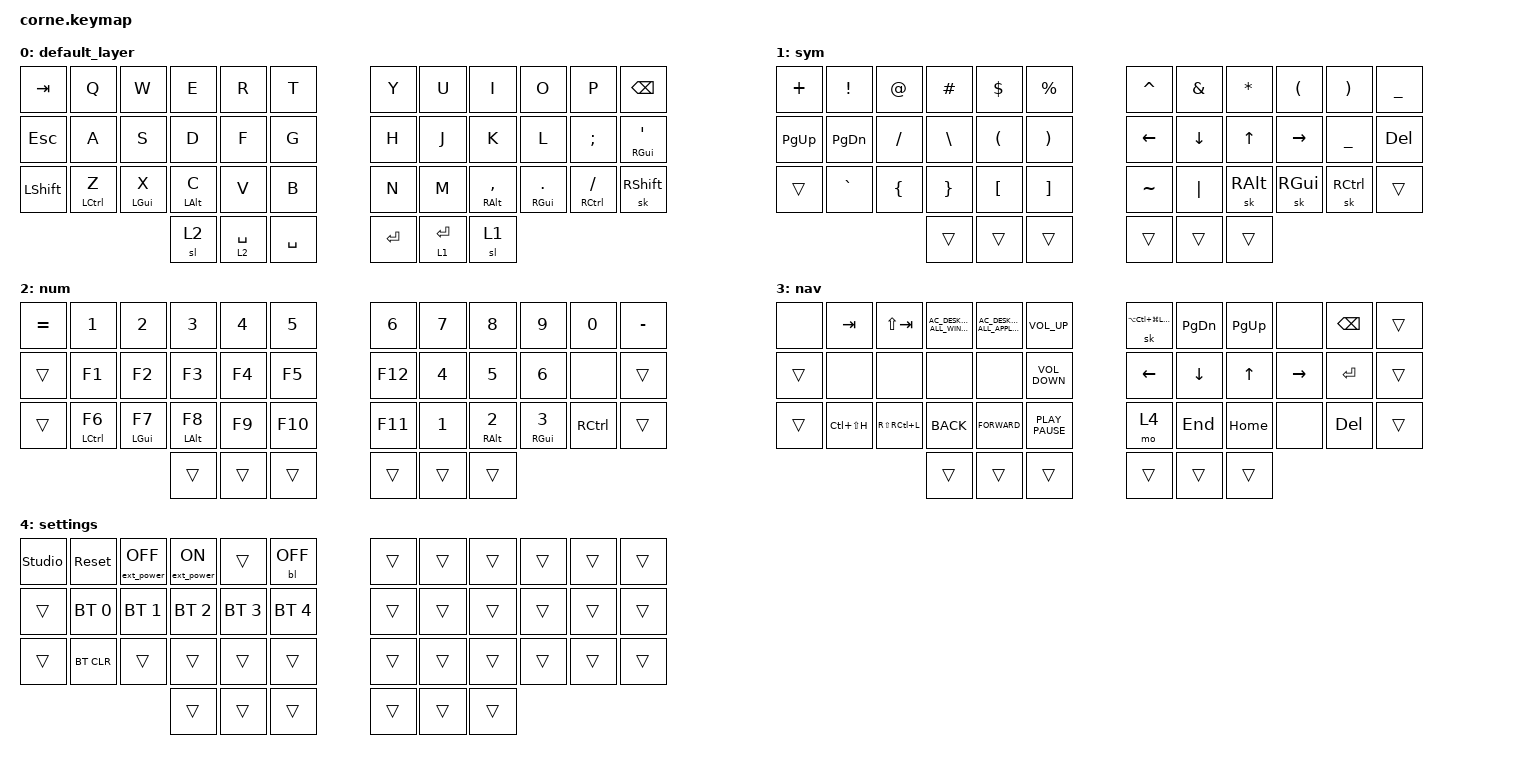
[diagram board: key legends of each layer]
/*
 * Copyright (c) 2020 The ZMK Contributors
 *
 * SPDX-License-Identifier: MIT
 */

#include <behaviors.dtsi>
#include <dt-bindings/zmk/backlight.h>
#include <dt-bindings/zmk/bt.h>
#include <dt-bindings/zmk/ext_power.h>
#include <dt-bindings/zmk/keys.h>

/ {
    behaviors {
        // Custom hold-tap with longer tapping term for improved mod-tap behavior
        my_mod_tap: my_mod_tap {
            compatible = "zmk,behavior-hold-tap";
            #binding-cells = <2>;
            flavor = "tap-preferred";
            tapping-term-ms = <250>;         // More time to distinguish hold from tap
            quick-tap-ms = <150>;            // Allows quick tap functionality
            require-prior-idle-ms = <100>;   // If another key was pressed within this time, prefer tap
            bindings = <&kp>, <&kp>;
        };
    };

    keymap {
        compatible = "zmk,keymap";

        default_layer {
            // -----------------------------------------------------------------------------------------
            // |  TAB |  Q  |  W  |  E  |  R  |  T  |   |  Y  |  U   |  I  |  O  |  P  | BSPC |
            // | CTRL |  A  |  S  |  D  |  F  |  G  |   |  H  |  J   |  K  |  L  |  ;  |  '   |
            // | SHFT |  Z  |  X  |  C  |  V  |  B  |   |  N  |  M   |  ,  |  .  |  /  | ESC  |
            //                    | GUI | LWR | SPC |   | ENT | RSE  | ALT |

            bindings = <
&kp TAB         &kp Q           &kp W              &kp E              &kp R        &kp T        &kp Y      &kp U        &kp I                   &kp O                    &kp P               &kp BACKSPACE
&kp ESCAPE      &kp A           &kp S              &kp D              &kp F        &kp G        &kp H      &kp J        &kp K                   &kp L                    &kp SEMI            &my_mod_tap RIGHT_GUI SQT
&kp LEFT_SHIFT  &my_mod_tap LCTRL Z  &my_mod_tap LEFT_GUI X  &my_mod_tap LEFT_ALT C  &kp V        &kp B        &kp N      &kp M        &my_mod_tap RIGHT_ALT COMMA  &my_mod_tap RIGHT_GUI PERIOD  &my_mod_tap RCTRL SLASH  &sk RIGHT_SHIFT
                                                &sl 2              &lt 2 SPACE  &kp SPACE    &kp ENTER  &lt 1 ENTER  &sl 1
            >;
        };

        sym {
            bindings = <
&kp PLUS     &kp EXCLAMATION  &kp AT_SIGN     &kp HASH         &kp DOLLAR            &kp PERCENT              &kp CARET  &kp AMPERSAND  &kp ASTERISK   &kp LEFT_PARENTHESIS  &kp RIGHT_PARENTHESIS  &kp UNDERSCORE
&kp PAGE_UP  &kp PAGE_DOWN    &kp SLASH       &kp BACKSLASH    &kp LEFT_PARENTHESIS  &kp RIGHT_PARENTHESIS    &kp LEFT   &kp DOWN       &kp UP         &kp RIGHT             &kp UNDERSCORE         &kp DELETE
&trans       &kp GRAVE        &kp LEFT_BRACE  &kp RIGHT_BRACE  &kp LEFT_BRACKET      &kp RIGHT_BRACKET        &kp TILDE  &kp PIPE       &sk RIGHT_ALT  &sk RIGHT_GUI         &sk RCTRL              &trans
                                              &trans           &trans                &trans                   &trans     &trans         &trans
            >;
        };

        num {
            bindings = <
&kp EQUAL  &kp N1        &kp N2           &kp N3           &kp N4  &kp N5     &kp N6   &kp N7        &kp N8                  &kp N9                  &kp N0             &kp MINUS
&trans     &kp F1        &kp F2           &kp F3           &kp F4  &kp F5     &kp F12  &kp NUMBER_4  &kp N5                  &kp NUMBER_6            &none              &trans
&trans     &mt LCTRL F6  &mt LEFT_GUI F7  &mt LEFT_ALT F8  &kp F9  &kp F10    &kp F11  &kp NUMBER_1  &mt RIGHT_ALT NUMBER_2  &mt RIGHT_GUI NUMBER_3  &kp RIGHT_CONTROL  &trans
                                          &trans           &trans  &trans     &trans   &trans        &trans
            >;
        };

        nav {
            bindings = <
&none   &kp TAB        &kp LS(TAB)    &kp C_AC_DESKTOP_SHOW_ALL_WINDOWS  &kp C_AC_DESKTOP_SHOW_ALL_APPLICATIONS  &kp K_VOLUME_UP      &sk LA(LC(LG(LEFT_SHIFT)))  &kp PAGE_DOWN   &kp PG_UP     &none      &kp BACKSPACE  &trans
&trans  &none          &none          &none                              &none                                   &kp K_VOLUME_DOWN    &kp LEFT                    &kp DOWN_ARROW  &kp UP_ARROW  &kp RIGHT  &kp ENTER      &trans
&trans  &kp LC(LS(H))  &kp RS(RC(L))  &kp K_BACK                         &kp K_FORWARD                           &kp K_PLAY_PAUSE     &mo 4                       &kp END         &kp HOME      &none      &kp DEL        &trans
                                      &trans                             &trans                                  &trans               &trans                      &trans          &trans
            >;
        };

        settings {
            bindings = <
&studio_unlock  &sys_reset    &ext_power EP_OFF  &ext_power EP_ON  &trans        &bl BL_OFF      &trans  &trans  &trans  &trans  &trans  &trans
&trans          &bt BT_SEL 0  &bt BT_SEL 1       &bt BT_SEL 2      &bt BT_SEL 3  &bt BT_SEL 4    &trans  &trans  &trans  &trans  &trans  &trans
&trans          &bt BT_CLR    &trans             &trans            &trans        &trans          &trans  &trans  &trans  &trans  &trans  &trans
                                                 &trans            &trans        &trans          &trans  &trans  &trans
            >;
        };
    };

    conditional_layers {
        compatible = "zmk,conditional-layers";

        both {
            if-layers = <1 2>;
            then-layer = <3>;
        };
    };
};
